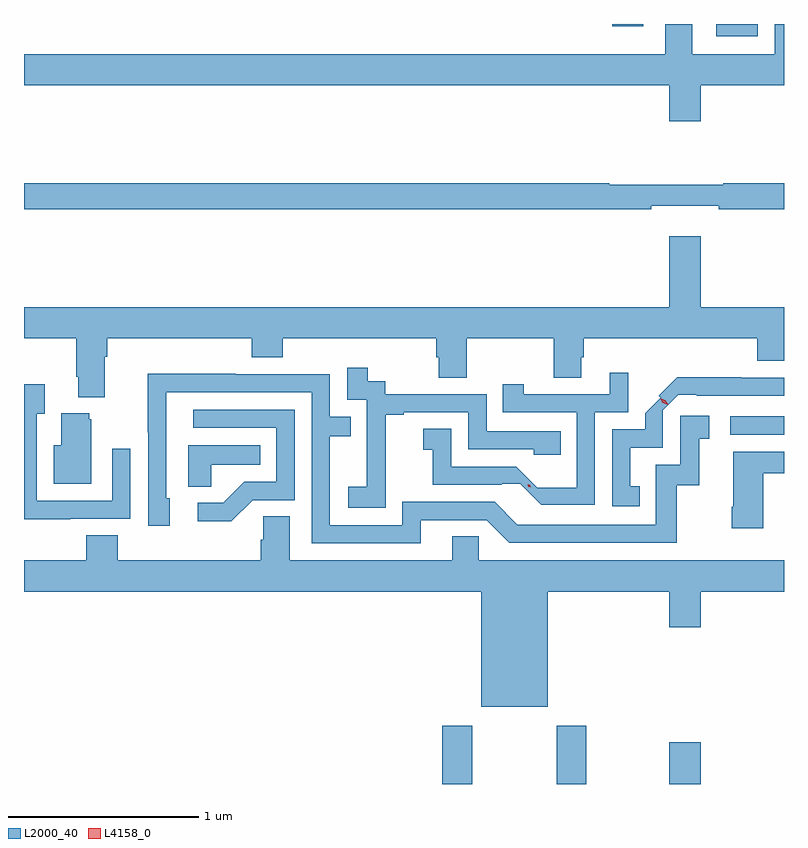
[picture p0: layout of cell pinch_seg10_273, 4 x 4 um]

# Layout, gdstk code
import gdstk
lib = gdstk.Library(unit=1e-6, precision=1e-09)
def R(c, l, rs):  # rectangles x0, y0, x1, y1
    for r in rs: c.add(gdstk.rectangle(r[:2], r[2:], *l))
def P(c, l, *ps):  # polygons
    for p in ps: c.add(gdstk.Polygon(p, *l))
L2000_40 = (2000, 40)
L4158_0 = (4158, 0)

pinch_seg10_273 = lib.new_cell('pinch_seg10_273')
R(pinch_seg10_273, L2000_40, [(499.475,1316.619,499.635,1316.926), (500.08,1316.619,500.235,1316.926), (500.672,1316.619,500.836,1316.839), (500.991,1318.458,501.275,1318.554), (500.919,1320.554,501.136,1320.619), (500.372,1320.606,500.533,1320.619)])
P(pinch_seg10_273, L2000_40, [(500.836,1320.296),(501.275,1320.296),(501.275,1320.619),(501.225,1320.619),(501.225,1320.46),(500.791,1320.46),(500.791,1320.619),(500.651,1320.619),(500.651,1320.46),(497.275,1320.46),(497.275,1320.296),(500.672,1320.296),(500.672,1320.108),(500.836,1320.108)],
  [(500.576,1319.663),(500.932,1319.663),(500.932,1319.644),(501.275,1319.644),(501.275,1319.78),(500.955,1319.78),(500.955,1319.773),(500.355,1319.773),(500.355,1319.78),(497.275,1319.78),(497.275,1319.644),(500.576,1319.644)],
  [(497.701,1318.868),(497.714,1318.868),(497.714,1318.964),(498.473,1318.964),(498.473,1318.865),(498.638,1318.865),(498.638,1318.964),(499.445,1318.964),(499.445,1318.866),(499.457,1318.866),(499.457,1318.756),(499.605,1318.756),(499.605,1318.964),(500.062,1318.964),(500.062,1318.756),(500.209,1318.756),(500.209,1318.866),(500.222,1318.866),(500.222,1318.964),(501.134,1318.964),(501.134,1318.847),(501.275,1318.847),(501.275,1319.128),(500.836,1319.128),(500.836,1319.503),(500.672,1319.503),(500.672,1319.128),(497.275,1319.128),(497.275,1318.964),(497.549,1318.964),(497.549,1318.762),(497.561,1318.762),(497.561,1318.655),(497.701,1318.655)],
  [(499.179,1318.279),(499.178,1318.279),(499.178,1318.563),(499.273,1318.563),(499.273,1318.575),(499.614,1318.575),(499.614,1318.38),(499.959,1318.38),(499.959,1318.353),(500.099,1318.353),(500.099,1318.476),(499.71,1318.476),(499.71,1318.671),(499.176,1318.671),(499.176,1318.74),(499.084,1318.74),(499.084,1318.81),(498.975,1318.81),(498.975,1318.641),(499.08,1318.641),(499.08,1318.412),(499.079,1318.412),(499.079,1318.183),(498.981,1318.183),(498.981,1318.073),(499.179,1318.073)],
  [(500.28,1318.575),(500.454,1318.575),(500.454,1318.783),(500.357,1318.783),(500.357,1318.671),(499.906,1318.671),(499.906,1318.723),(499.795,1318.723),(499.795,1318.575),(500.184,1318.575),(500.184,1318.179),(499.977,1318.179),(499.866,1318.29),(499.524,1318.29),(499.524,1318.489),(499.377,1318.489),(499.377,1318.379),(499.426,1318.379),(499.426,1318.194),(499.79,1318.194),(499.79,1318.2),(499.887,1318.2),(499.998,1318.089),(500.28,1318.089)],
  [(499.363,1318.008),(499.71,1318.008),(499.83,1317.888),(500.71,1317.888),(500.71,1318.191),(500.828,1318.191),(500.828,1318.437),(500.881,1318.437),(500.881,1318.558),(500.73,1318.558),(500.73,1318.299),(500.601,1318.299),(500.601,1317.984),(499.872,1317.984),(499.752,1318.104),(499.266,1318.104),(499.266,1317.981),(498.885,1317.981),(498.885,1318.45),(498.995,1318.45),(498.995,1318.551),(498.885,1318.551),(498.885,1318.776),(498.389,1318.776),(498.389,1318.778),(497.926,1318.778),(497.926,1318.471),(497.928,1318.471),(497.928,1317.978),(498.043,1317.978),(498.043,1318.122),(498.024,1318.122),(498.024,1318.68),(498.789,1318.68),(498.789,1317.885),(499.363,1317.885)],
  [(500.516,1318.185),(500.467,1318.185),(500.467,1318.389),(500.637,1318.389),(500.637,1318.587),(500.718,1318.668),(500.815,1318.668),(500.815,1318.662),(501.275,1318.662),(501.275,1318.758),(501.05,1318.758),(501.05,1318.76),(500.713,1318.76),(500.616,1318.662),(500.626,1318.652),(500.544,1318.57),(500.544,1318.485),(500.37,1318.485),(500.37,1318.08),(500.516,1318.08)],
  [(497.519,1318.014),(497.835,1318.014),(497.835,1318.384),(497.739,1318.384),(497.739,1318.11),(497.343,1318.11),(497.343,1318.567),(497.383,1318.567),(497.383,1318.723),(497.275,1318.723),(497.275,1318.013),(497.519,1318.013)],
  [(498.48,1318.113),(498.699,1318.113),(498.699,1318.59),(498.165,1318.59),(498.165,1318.494),(498.603,1318.494),(498.603,1318.209),(498.434,1318.209),(498.323,1318.098),(498.189,1318.098),(498.189,1318.001),(498.367,1318.001)],
  [(497.629,1318.539),(497.618,1318.539),(497.618,1318.57),(497.471,1318.57),(497.471,1318.402),(497.432,1318.402),(497.432,1318.199),(497.629,1318.199)],
  [(498.261,1318.298),(498.518,1318.298),(498.518,1318.402),(498.14,1318.402),(498.14,1318.183),(498.261,1318.183)],
  [(501.166,1318.255),(501.275,1318.255),(501.275,1318.369),(501.008,1318.369),(501.008,1318.078),(501.001,1318.078),(501.001,1317.966),(501.166,1317.966)],
  [(500.032,1317.632),(500.672,1317.632),(500.672,1317.444),(500.836,1317.444),(500.836,1317.632),(501.275,1317.632),(501.275,1317.796),(499.668,1317.796),(499.668,1317.923),(499.529,1317.923),(499.529,1317.796),(498.673,1317.796),(498.673,1318.028),(498.534,1318.028),(498.534,1317.905),(498.521,1317.905),(498.521,1317.796),(497.768,1317.796),(497.768,1317.929),(497.603,1317.929),(497.603,1317.796),(497.275,1317.796),(497.275,1317.632),(499.682,1317.632),(499.682,1317.026),(500.032,1317.026)])
P(pinch_seg10_273, L4158_0, [(500.664,1318.616),(500.638,1318.625),(500.624,1318.65),(500.624,1318.65),(500.624,1318.65),(500.65,1318.64),(500.665,1318.616),(500.665,1318.616)],
  [(499.942,1318.182),(499.93,1318.183),(499.93,1318.183),(499.93,1318.184),(499.926,1318.194),(499.937,1318.193),(499.938,1318.193),(499.938,1318.193)])

lib.write_gds('pinch_seg10_273.gds')
